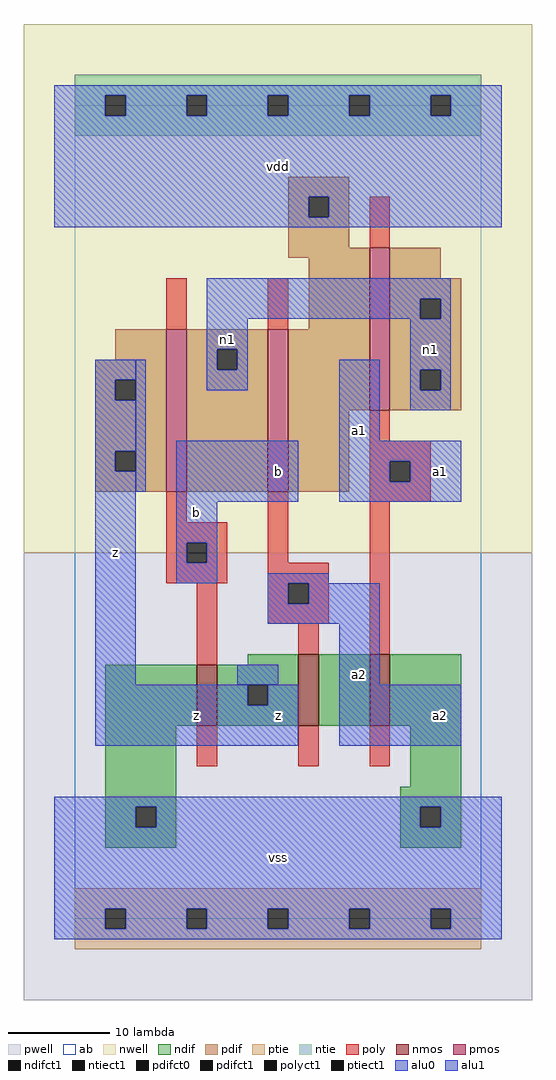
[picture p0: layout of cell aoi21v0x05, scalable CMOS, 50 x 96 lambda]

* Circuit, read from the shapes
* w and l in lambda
.subckt aoi21v0x05 a1 a2 b n1 vdd vss z
M1 z b vss vss nfet w=6 l=2
M2 n2 a2 z vss nfet w=7 l=2
M3 vss a1 n2 vss nfet w=7 l=2
M4 n1 b z vdd pfet w=16 l=2
M5 vdd a2 n1 vdd pfet w=16 l=2
M6 n1 a1 vdd vdd pfet w=16 l=2
.ends

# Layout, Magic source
magic
tech scmos
<< ab >>
rect 0 0 40 80
<< nwell >>
rect -5 36 45 88
<< pwell >>
rect -5 -8 45 36
<< poly >>
rect 29 66 31 71
rect 9 58 11 63
rect 19 58 21 63
rect 29 47 31 50
rect 29 45 35 47
rect 29 43 31 45
rect 33 43 35 45
rect 9 39 11 42
rect 9 37 15 39
rect 9 35 11 37
rect 13 35 15 37
rect 9 33 15 35
rect 19 35 21 42
rect 29 41 35 43
rect 19 33 25 35
rect 12 25 14 33
rect 19 31 21 33
rect 23 31 25 33
rect 19 29 25 31
rect 22 26 24 29
rect 29 26 31 41
rect 12 15 14 19
rect 22 15 24 19
rect 29 15 31 19
<< ndif >>
rect 17 25 22 26
rect 3 19 12 25
rect 14 23 22 25
rect 14 21 17 23
rect 19 21 22 23
rect 14 19 22 21
rect 24 19 29 26
rect 31 19 38 26
rect 3 11 10 19
rect 33 13 38 19
rect 3 9 6 11
rect 8 9 10 11
rect 3 7 10 9
rect 32 11 38 13
rect 32 9 34 11
rect 36 9 38 11
rect 32 7 38 9
<< pdif >>
rect 21 71 27 73
rect 21 69 23 71
rect 25 69 27 71
rect 21 66 27 69
rect 21 65 29 66
rect 23 58 29 65
rect 4 55 9 58
rect 2 53 9 55
rect 2 51 4 53
rect 6 51 9 53
rect 2 46 9 51
rect 2 44 4 46
rect 6 44 9 46
rect 2 42 9 44
rect 11 56 19 58
rect 11 54 14 56
rect 16 54 19 56
rect 11 42 19 54
rect 21 50 29 58
rect 31 63 36 66
rect 31 61 38 63
rect 31 59 34 61
rect 36 59 38 61
rect 31 54 38 59
rect 31 52 34 54
rect 36 52 38 54
rect 31 50 38 52
rect 21 42 27 50
<< alu1 >>
rect -2 81 42 82
rect -2 79 3 81
rect 5 79 11 81
rect 13 79 19 81
rect 21 79 27 81
rect 29 79 35 81
rect 37 79 42 81
rect -2 71 42 79
rect -2 69 23 71
rect 25 69 42 71
rect -2 68 42 69
rect 2 53 6 55
rect 2 51 4 53
rect 2 46 6 51
rect 2 44 4 46
rect 2 23 6 44
rect 26 47 30 55
rect 10 41 22 47
rect 26 45 38 47
rect 26 43 31 45
rect 33 43 38 45
rect 26 41 38 43
rect 10 37 14 41
rect 10 35 11 37
rect 13 35 14 37
rect 10 33 14 35
rect 19 33 25 34
rect 19 31 21 33
rect 23 31 30 33
rect 19 29 30 31
rect 26 23 30 29
rect 2 21 17 23
rect 19 21 22 23
rect 2 17 22 21
rect 26 17 38 23
rect -2 11 42 12
rect -2 9 6 11
rect 8 9 34 11
rect 36 9 42 11
rect -2 1 42 9
rect -2 -1 3 1
rect 5 -1 11 1
rect 13 -1 19 1
rect 21 -1 27 1
rect 29 -1 35 1
rect 37 -1 42 1
rect -2 -2 42 -1
<< ptie >>
rect 0 1 40 3
rect 0 -1 3 1
rect 5 -1 11 1
rect 13 -1 19 1
rect 21 -1 27 1
rect 29 -1 35 1
rect 37 -1 40 1
rect 0 -3 40 -1
<< ntie >>
rect 0 81 40 83
rect 0 79 3 81
rect 5 79 11 81
rect 13 79 19 81
rect 21 79 27 81
rect 29 79 35 81
rect 37 79 40 81
rect 0 77 40 79
<< nmos >>
rect 12 19 14 25
rect 22 19 24 26
rect 29 19 31 26
<< pmos >>
rect 9 42 11 58
rect 19 42 21 58
rect 29 50 31 66
<< polyct1 >>
rect 31 43 33 45
rect 11 35 13 37
rect 21 31 23 33
<< ndifct1 >>
rect 17 21 19 23
rect 6 9 8 11
rect 34 9 36 11
<< ntiect1 >>
rect 3 79 5 81
rect 11 79 13 81
rect 19 79 21 81
rect 27 79 29 81
rect 35 79 37 81
<< ptiect1 >>
rect 3 -1 5 1
rect 11 -1 13 1
rect 19 -1 21 1
rect 27 -1 29 1
rect 35 -1 37 1
<< pdifct0 >>
rect 14 54 16 56
rect 34 59 36 61
rect 34 52 36 54
<< pdifct1 >>
rect 23 69 25 71
rect 4 51 6 53
rect 4 44 6 46
<< alu0 >>
rect 13 61 37 63
rect 13 59 34 61
rect 36 59 37 61
rect 13 56 17 59
rect 6 42 7 55
rect 13 54 14 56
rect 16 54 17 56
rect 13 52 17 54
rect 33 54 37 59
rect 33 52 34 54
rect 36 52 37 54
rect 33 50 37 52
rect 16 23 20 25
<< labels >>
rlabel alu0 15 57 15 57 6 n1
rlabel alu0 35 56 35 56 6 n1
rlabel alu1 4 36 4 36 6 z
rlabel alu1 12 20 12 20 6 z
rlabel alu1 12 40 12 40 6 b
rlabel alu1 20 6 20 6 6 vss
rlabel alu1 20 20 20 20 6 z
rlabel alu1 28 24 28 24 6 a2
rlabel alu1 20 44 20 44 6 b
rlabel alu1 28 48 28 48 6 a1
rlabel alu1 20 74 20 74 6 vdd
rlabel alu1 36 20 36 20 6 a2
rlabel alu1 36 44 36 44 6 a1
<< end >>
